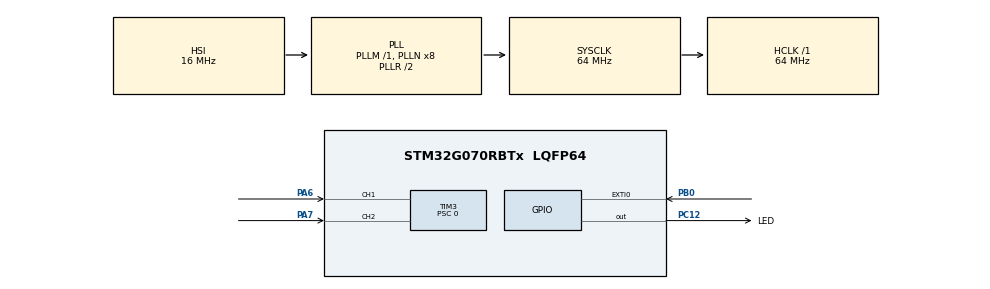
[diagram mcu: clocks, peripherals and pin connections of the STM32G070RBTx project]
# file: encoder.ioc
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Mcu.Family=STM32G0
Mcu.Name=STM32G070RBTx
Mcu.Package=LQFP64
NVIC.EXTI0_1_IRQn=true\:0\:0\:false\:false\:true\:true\:true\:true
PA13.Mode=Serial_Wire
PA13.Signal=SYS_SWDIO
PA14-BOOT0.Mode=Serial_Wire
PA14-BOOT0.Signal=SYS_SWCLK
PA6.GPIO_PuPd=GPIO_PULLUP
PA6.Signal=S_TIM3_CH1
PA7.GPIO_PuPd=GPIO_PULLUP
PA7.Signal=S_TIM3_CH2
PB0.GPIO_ModeDefaultEXTI=GPIO_MODE_IT_FALLING
PB0.GPIO_PuPd=GPIO_PULLUP
PB0.Signal=GPXTI0
PC12.GPIO_Label=LED
PC12.Signal=GPIO_Output
ProjectManager.HeapSize=0x200
ProjectManager.StackSize=0x400
ProjectManager.TargetToolchain=CMake
RCC.ADCFreq_Value=64000000
RCC.AHBFreq_Value=64000000
RCC.CortexFreq_Value=64000000
RCC.EXTERNAL_CLOCK_VALUE=48000
RCC.HCLKFreq_Value=64000000
RCC.HSE_VALUE=8000000
RCC.HSI_VALUE=16000000
RCC.LSE_VALUE=32768
RCC.SYSCLKFreq_VALUE=64000000
RCC.SYSCLKSource=RCC_SYSCLKSOURCE_PLLCLK
RCC.VCOOutputFreq_Value=128000000
SH.S_TIM3_CH1.0=TIM3_CH1,Encoder_Interface
SH.S_TIM3_CH2.0=TIM3_CH2,Encoder_Interface
TIM3.EncoderMode=TIM_ENCODERMODE_TI1
TIM3.IC1Filter=2
TIM3.IC2Filter=2
TIM3.Prescaler=0
board=custom

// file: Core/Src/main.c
/* USER CODE BEGIN Header */
/**
 ******************************************************************************
 * @file           : main.c
 * @brief          : Main program body
 ******************************************************************************
 * @attention
 *
 * Copyright (c) 2025 STMicroelectronics.
 * All rights reserved.
 *
 * This software is licensed under terms that can be found in the LICENSE file
 * in the root directory of this software component.
 * If no LICENSE file comes with this software, it is provided AS-IS.
 *
 ******************************************************************************
 */
/* USER CODE END Header */
#include "main.h"
#include "tim.h"
#include "gpio.h"

/* USER CODE BEGIN Includes */
#include "log.h"

/* USER CODE END Includes */

void SystemClock_Config(void);

/* USER CODE BEGIN 0 */
void HAL_GPIO_EXTI_Falling_Callback(uint16_t GPIO_Pin)
{
    if (GPIO_Pin == GPIO_PIN_0)
    {
        log_debug("encoder sw button pressed");
    }
}

/* USER CODE END 0 */

int main(void)
{

    /* MCU Configuration--------------------------------------------------------*/

    /* Reset of all peripherals, Initializes the Flash interface and the Systick. */
    HAL_Init();

    /* Configure the system clock */
    SystemClock_Config();

    /* Initialize all configured peripherals */
    MX_GPIO_Init();
    MX_TIM3_Init();
    /* USER CODE BEGIN 2 */
    log_init(LOG_TRACE, false);

    HAL_TIM_Encoder_Start(&htim3, TIM_CHANNEL_ALL);
    __HAL_TIM_SetCounter(&htim3, 100);

    /* USER CODE END 2 */

    /* Infinite loop */
    while (1)
    {

        /* USER CODE BEGIN 3 */
        HAL_GPIO_WritePin(LED_GPIO_Port, LED_Pin, GPIO_PIN_RESET);
        HAL_Delay(300);
        HAL_GPIO_WritePin(LED_GPIO_Port, LED_Pin, GPIO_PIN_SET);
        HAL_Delay(300);

        uint8_t dir = __HAL_TIM_IS_TIM_COUNTING_DOWN(&htim3);
        uint32_t encoder_cnt = __HAL_TIM_GET_COUNTER(&htim3);
        log_info("encoder result: dir = %d, count = %d", dir, encoder_cnt);
    }
    /* USER CODE END 3 */
}

void SystemClock_Config(void)
{
    RCC_OscInitTypeDef RCC_OscInitStruct = {0};
    RCC_ClkInitTypeDef RCC_ClkInitStruct = {0};

    /** Configure the main internal regulator output voltage
     */
    HAL_PWREx_ControlVoltageScaling(PWR_REGULATOR_VOLTAGE_SCALE1);

    /** Initializes the RCC Oscillators according to the specified parameters
     * in the RCC_OscInitTypeDef structure.
     */
    RCC_OscInitStruct.OscillatorType = RCC_OSCILLATORTYPE_HSI;
    RCC_OscInitStruct.HSIState = RCC_HSI_ON;
    RCC_OscInitStruct.HSIDiv = RCC_HSI_DIV1;
    RCC_OscInitStruct.HSICalibrationValue = RCC_HSICALIBRATION_DEFAULT;
    RCC_OscInitStruct.PLL.PLLState = RCC_PLL_ON;
    RCC_OscInitStruct.PLL.PLLSource = RCC_PLLSOURCE_HSI;
    RCC_OscInitStruct.PLL.PLLM = RCC_PLLM_DIV1;
    RCC_OscInitStruct.PLL.PLLN = 8;
    RCC_OscInitStruct.PLL.PLLP = RCC_PLLP_DIV2;
    RCC_OscInitStruct.PLL.PLLR = RCC_PLLR_DIV2;
    if (HAL_RCC_OscConfig(&RCC_OscInitStruct) != HAL_OK)
    {
        Error_Handler();
    }

    /** Initializes the CPU, AHB and APB buses clocks
     */
    RCC_ClkInitStruct.ClockType = RCC_CLOCKTYPE_HCLK | RCC_CLOCKTYPE_SYSCLK | RCC_CLOCKTYPE_PCLK1;
    RCC_ClkInitStruct.SYSCLKSource = RCC_SYSCLKSOURCE_PLLCLK;
    RCC_ClkInitStruct.AHBCLKDivider = RCC_SYSCLK_DIV1;
    RCC_ClkInitStruct.APB1CLKDivider = RCC_HCLK_DIV1;

    if (HAL_RCC_ClockConfig(&RCC_ClkInitStruct, FLASH_LATENCY_2) != HAL_OK)
    {
        Error_Handler();
    }
}

void Error_Handler(void)
{
    __disable_irq();
    while (1)
    {
    }
}

#ifdef USE_FULL_ASSERT
/**
 * @brief  Reports the name of the source file and the source line number
 *         where the assert_param error has occurred.
 * @param  file: pointer to the source file name
 * @param  line: assert_param error line source number
 * @retval None
 */
void assert_failed(uint8_t *file, uint32_t line)
{
    /* USER CODE BEGIN 6 */
    /* User can add his own implementation to report the file name and line
       number, ex: printf("Wrong parameters value: file %s on line %d\r\n", file,
       line) */
    /* USER CODE END 6 */
}
#endif /* USE_FULL_ASSERT */
